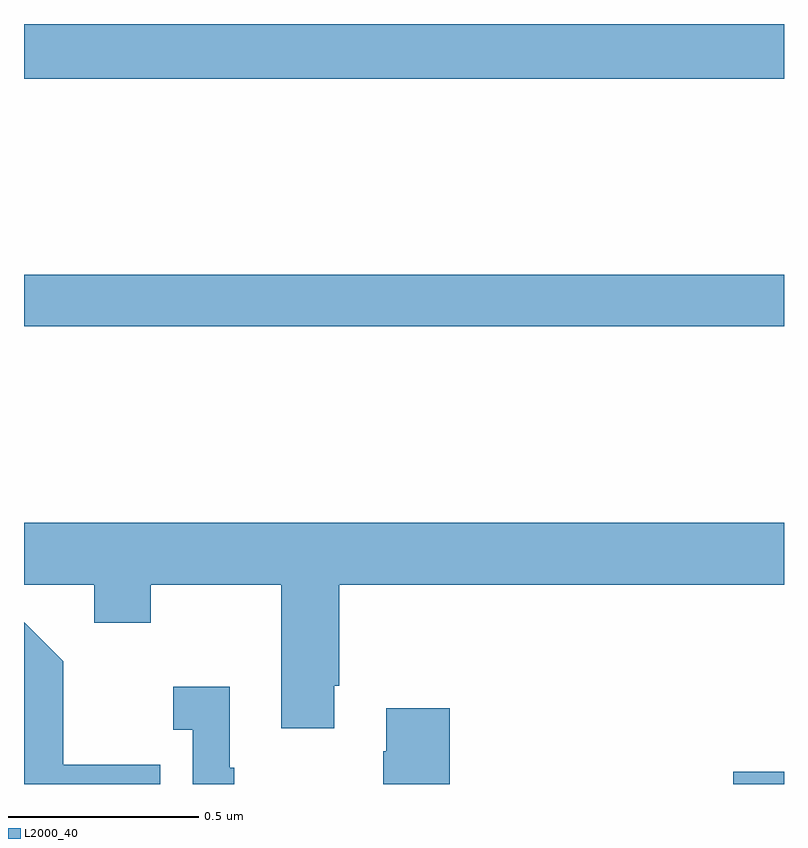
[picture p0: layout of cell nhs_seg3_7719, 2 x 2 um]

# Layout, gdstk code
import gdstk
lib = gdstk.Library(unit=1e-6, precision=1e-09)
def R(c, l, rs):  # rectangles x0, y0, x1, y1
    for r in rs: c.add(gdstk.rectangle(r[:2], r[2:], *l))
def P(c, l, *ps):  # polygons
    for p in ps: c.add(gdstk.Polygon(p, *l))
L2000_40 = (2000, 40)

nhs_seg3_7719 = lib.new_cell('nhs_seg3_7719')
R(nhs_seg3_7719, L2000_40, [(208.866,692.4,209,692.432), (207,693.604,209,693.74), (207,694.256,209,694.4)])
P(nhs_seg3_7719, L2000_40, [(207.817,692.659),(207.83,692.659),(207.83,692.924),(209,692.924),(209,693.088),(207,693.088),(207,692.924),(207.185,692.924),(207.185,692.825),(207.333,692.825),(207.333,692.924),(207.677,692.924),(207.677,692.547),(207.817,692.547)],
  [(207.359,692.451),(207.103,692.451),(207.103,692.723),(207,692.826),(207,692.4),(207.359,692.4)],
  [(207.553,692.443),(207.541,692.443),(207.541,692.656),(207.393,692.656),(207.393,692.543),(207.444,692.543),(207.444,692.4),(207.553,692.4)],
  [(208.121,692.599),(207.953,692.599),(207.953,692.486),(207.946,692.486),(207.946,692.4),(208.121,692.4)])

lib.write_gds('nhs_seg3_7719.gds')
